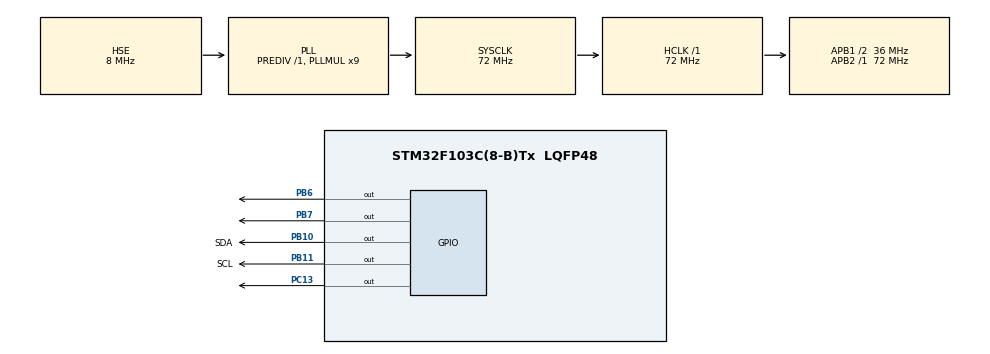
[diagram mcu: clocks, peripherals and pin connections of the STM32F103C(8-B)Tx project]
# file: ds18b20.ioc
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Mcu.Family=STM32F1
Mcu.Name=STM32F103C(8-B)Tx
Mcu.Package=LQFP48
NVIC.PriorityGroup=NVIC_PRIORITYGROUP_4
PA13.Mode=Serial_Wire
PA13.Signal=SYS_JTMS-SWDIO
PA14.Mode=Serial_Wire
PA14.Signal=SYS_JTCK-SWCLK
PB10.GPIO_Label=SDA
PB10.GPIO_ModeDefaultOutputPP=GPIO_MODE_OUTPUT_OD
PB10.GPIO_PuPd=GPIO_PULLUP
PB10.GPIO_Speed=GPIO_SPEED_FREQ_HIGH
PB10.PinState=GPIO_PIN_SET
PB10.Signal=GPIO_Output
PB11.GPIO_Label=SCL
PB11.GPIO_ModeDefaultOutputPP=GPIO_MODE_OUTPUT_OD
PB11.GPIO_PuPd=GPIO_PULLUP
PB11.GPIO_Speed=GPIO_SPEED_FREQ_HIGH
PB11.PinState=GPIO_PIN_SET
PB11.Signal=GPIO_Output
PB6.GPIO_ModeDefaultOutputPP=GPIO_MODE_OUTPUT_OD
PB6.GPIO_PuPd=GPIO_NOPULL
PB6.GPIO_Speed=GPIO_SPEED_FREQ_HIGH
PB6.PinState=GPIO_PIN_SET
PB6.Signal=GPIO_Output
PB7.GPIO_ModeDefaultOutputPP=GPIO_MODE_OUTPUT_OD
PB7.GPIO_PuPd=GPIO_NOPULL
PB7.GPIO_Speed=GPIO_SPEED_FREQ_HIGH
PB7.PinState=GPIO_PIN_SET
PB7.Signal=GPIO_Output
PC13-TAMPER-RTC.GPIO_ModeDefaultOutputPP=GPIO_MODE_OUTPUT_OD
PC13-TAMPER-RTC.GPIO_PuPd=GPIO_NOPULL
PC13-TAMPER-RTC.GPIO_Speed=GPIO_SPEED_FREQ_HIGH
PC13-TAMPER-RTC.PinState=GPIO_PIN_RESET
PC13-TAMPER-RTC.Signal=GPIO_Output
PD0-OSC_IN.Mode=HSE-External-Oscillator
PD0-OSC_IN.Signal=RCC_OSC_IN
PD1-OSC_OUT.Mode=HSE-External-Oscillator
PD1-OSC_OUT.Signal=RCC_OSC_OUT
ProjectManager.HeapSize=0x200
ProjectManager.StackSize=0x400
ProjectManager.TargetToolchain=MDK-ARM V5
RCC.AHBFreq_Value=72000000
RCC.APB1CLKDivider=RCC_HCLK_DIV2
RCC.APB1Freq_Value=36000000
RCC.APB1TimFreq_Value=72000000
RCC.APB2Freq_Value=72000000
RCC.APB2TimFreq_Value=72000000
RCC.HCLKFreq_Value=72000000
RCC.PLLMUL=RCC_PLL_MUL9
RCC.PLLSourceVirtual=RCC_PLLSOURCE_HSE
RCC.SYSCLKFreq_VALUE=72000000
RCC.SYSCLKSource=RCC_SYSCLKSOURCE_PLLCLK
RCC.USBFreq_Value=72000000
TIM4.Prescaler=72-1
VP_TIM4_VS_ClockSourceINT.Mode=Internal
board=custom

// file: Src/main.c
/* USER CODE BEGIN Header */
/**
  ******************************************************************************
  * @file           : main.c
  * @brief          : Main program body
  ******************************************************************************
  * @attention
  *
  * Copyright (c) 2023 STMicroelectronics.
  * All rights reserved.
  *
  * This software is licensed under terms that can be found in the LICENSE file
  * in the root directory of this software component.
  * If no LICENSE file comes with this software, it is provided AS-IS.
  *
  ******************************************************************************
  */
/* USER CODE END Header */
#include "main.h"
#include "tim.h"
#include "gpio.h"

/* USER CODE BEGIN Includes */
#include "IIC.h"
#include "MPU6050.h"
#include "OLED.h"
#include "DS18B20.h"

/* USER CODE END Includes */

/* USER CODE BEGIN PV */
int16_t AX,AY,AZ,GX,GY,GZ;
/* USER CODE END PV */

void SystemClock_Config(void);

int main(void)
{
  /* USER CODE BEGIN 1 */

	float T;
	uint16_t cnt=0;
	uint16_t i;
  /* USER CODE END 1 */

  /* MCU Configuration--------------------------------------------------------*/

  /* Reset of all peripherals, Initializes the Flash interface and the Systick. */
  HAL_Init();

  /* USER CODE BEGIN Init */
	OLED_Init();

  /* USER CODE END Init */

  /* Configure the system clock */
  SystemClock_Config();

  /* Initialize all configured peripherals */
  MX_GPIO_Init();
  MX_TIM4_Init();
  /* USER CODE BEGIN 2 */
	MPU6050_Init();
	HAL_Delay(10);
	//OLED_ShowString(2,1,"ID:");
	MPU6050_WriteReg(0x6B,0x00);
	//MPU6050_WriteReg(0x19,0xAA);
	//uint16_t ID= MPU6050_ReadReg(0x19);
	//OLED_ShowHexNum(2,4,ID,2);
	OLED_ShowString(1,1,"T:");
OLED_ShowString(2,1,"STEP:");
  /* USER CODE END 2 */

  /* Infinite loop */
  while (1)
  {

    /* USER CODE BEGIN 3 */

		DS18B20_ConvertT();
		T=DS18B20_ReadT();
		if(T<0)
		{
			OLED_ShowChar(1,3,'-');
			T=-T;
		}
		else
		{
			OLED_ShowChar(1,3,'+');
		}
		OLED_ShowNum(1,4,T,3);
		OLED_ShowChar(1,7,'.');
		OLED_ShowNum(1,8,(unsigned long)(T*10000)%10000,4);
		MPU6050_GetData(&AX,&AY,&AZ,&GX,&GY,&GZ);
		OLED_ShowSignedNum(3,8,AZ,5);
		OLED_ShowSignedNum(4,8,GY,5);
		if(AZ>0&&GY<0)
		{
			cnt++;
		}
		OLED_ShowNum(2,4,cnt,5);
		HAL_Delay(500);
  }

  }

  /* USER CODE END 3 */

void SystemClock_Config(void)
{
  RCC_OscInitTypeDef RCC_OscInitStruct = {0};
  RCC_ClkInitTypeDef RCC_ClkInitStruct = {0};

  /** Initializes the RCC Oscillators according to the specified parameters
  * in the RCC_OscInitTypeDef structure.
  */
  RCC_OscInitStruct.OscillatorType = RCC_OSCILLATORTYPE_HSE;
  RCC_OscInitStruct.HSEState = RCC_HSE_ON;
  RCC_OscInitStruct.HSEPredivValue = RCC_HSE_PREDIV_DIV1;
  RCC_OscInitStruct.HSIState = RCC_HSI_ON;
  RCC_OscInitStruct.PLL.PLLState = RCC_PLL_ON;
  RCC_OscInitStruct.PLL.PLLSource = RCC_PLLSOURCE_HSE;
  RCC_OscInitStruct.PLL.PLLMUL = RCC_PLL_MUL9;
  if (HAL_RCC_OscConfig(&RCC_OscInitStruct) != HAL_OK)
  {
    Error_Handler();
  }

  /** Initializes the CPU, AHB and APB buses clocks
  */
  RCC_ClkInitStruct.ClockType = RCC_CLOCKTYPE_HCLK|RCC_CLOCKTYPE_SYSCLK
                              |RCC_CLOCKTYPE_PCLK1|RCC_CLOCKTYPE_PCLK2;
  RCC_ClkInitStruct.SYSCLKSource = RCC_SYSCLKSOURCE_PLLCLK;
  RCC_ClkInitStruct.AHBCLKDivider = RCC_SYSCLK_DIV1;
  RCC_ClkInitStruct.APB1CLKDivider = RCC_HCLK_DIV2;
  RCC_ClkInitStruct.APB2CLKDivider = RCC_HCLK_DIV1;

  if (HAL_RCC_ClockConfig(&RCC_ClkInitStruct, FLASH_LATENCY_2) != HAL_OK)
  {
    Error_Handler();
  }
}

void Error_Handler(void)
{
  __disable_irq();
  while (1)
  {
  }
}
